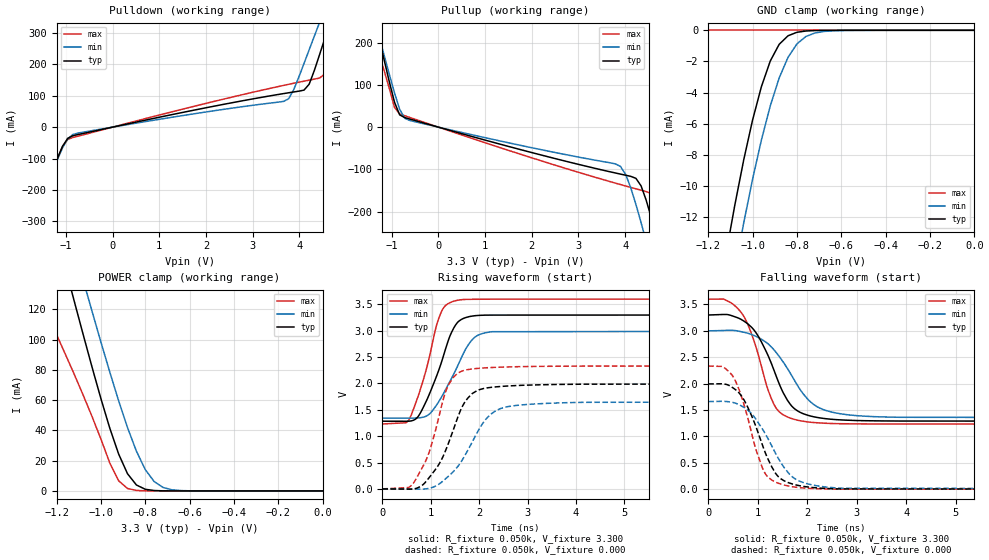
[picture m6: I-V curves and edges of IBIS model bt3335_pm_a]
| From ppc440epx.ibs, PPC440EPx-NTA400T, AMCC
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|   MODEL bt3335_pm_a
[Model]   bt3335_pm_a
Model_type   I/O
Vinl  = 0.8V
Vinh  = 2.0V
Vref  = 0.0V
Rref  = 1e20k
Cref  = 10pF
Vmeas = 1.65V
| Values for delay from A to PAD (Tdo) are determined using
| Vref, Cref, Rref, and Vmeas.
|   INPUT TRANSITION ON DRIVER INPUT = 0.1ns
|   typ   min   max
| Tdo (rise)   1.73n   1.33n   2.26n
| Tdo (fall)   1.61n   1.34n   1.97n
|   INPUT TRANSITION ON DRIVER INPUT = 1.0ns
|   typ   min   max
| Tdo (rise)   1.79n   1.37n   2.35n
| Tdo (fall)   1.71n   1.42n   2.08n
|   typ   min   max
C_comp   1.20pF   1.18pF  1.22pF
[Temperature Range]   50.00   125.00   0.00
[Voltage Range]   3.300   3.000   3.600
|   typ   min   max
|[Supply]   VDD   1.5   1.4   1.6
|[Supply]   VDD330   3.30   3.00   3.60
[Add Submodel]
| Submodel Name   Mode
Up.bt3335_pm_a   Non-Driving
Dn.bt3335_pm_a   Non-Driving
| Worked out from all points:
|   slope of the pulldown table from 0 to 0.495 V, typ, clamps not added: 31.4 ohm
|   slope of the pullup table from 0 to 0.495 V, typ, clamps not added: 32.3 ohm
|   GND clamp passes 1 mA (typ) near -0.88 V on its own axis
|   POWER clamp passes 1 mA (typ) near -0.80 V on its own axis
|   rising waveform, R_fixture 0.050k, V_fixture 3.300: 20-80 % time 477ps typ, 554ps min, 408ps max; typ from 1.28 V to 3.3 V
|   falling waveform, R_fixture 0.050k, V_fixture 3.300: 20-80 % time 588ps typ, 743ps min, 484ps max; typ from 3.3 V to 1.28 V
|   rising waveform, R_fixture 0.050k, V_fixture 0.000: 20-80 % time 552ps typ, 676ps min, 455ps max; typ from 0 V to 1.99 V
|   falling waveform, R_fixture 0.050k, V_fixture 0.000: 20-80 % time 522ps typ, 637ps min, 440ps max; typ from 1.99 V to 0 V
[Pullup]   | Note: Vtable = Vcc - Vout
| Voltage   I(typ)   I(min)   I(max)
-3.6V     1.264A     1.129A     1.093A
-1.49V    313mA      303.6mA    248.3mA
-1.38V    261.7mA    259.1mA    211.1mA
-830mV    29.07mA    42.36mA    31.36mA
-610mV    19.08mA    15.69mA    22.87mA
3.79V     -108.6mA   -87.03mA   -132.6mA
4.01V     -113.9mA   -112.1mA   -139.4mA
4.23V     -121.3mA   -183.2mA   -146.1mA
4.45V     -173.1mA   -271.2mA   -152.6mA
4.67V     -260.7mA   -365.3mA   -176.2mA
4.89V     -357.2mA   -462.2mA   -258mA
7.2V      -1.441A    -1.528A    -1.358A
[Pulldown]   | Note: Vtable = Vout
| Voltage   I(typ)   I(min)   I(max)
-3.6V     -1.257A    -1.221A    -1.289A
-1.73V    -342.5mA   -335.9mA   -351.7mA
-1.62V    -291.1mA   -286.7mA   -298.7mA
-1.07V    -60.81mA   -65.51mA   -60.73mA
-850mV    -27.42mA   -23.51mA   -33.05mA
3.77V     109.6mA    90.43mA    136.5mA
4.21V     137mA      246.6mA    150mA
4.43V     230mA      332.9mA    156.5mA
4.54V     280.4mA    375.5mA    168.7mA
4.65V     330.7mA    417.8mA    211.2mA
4.98V     478.9mA    543.1mA    327.6mA
7.2V      1.418A     1.363A     1.147A
[POWER_Clamp]   | Note: Vtable = Vcc - Vout
| Voltage   I(typ)   I(min)   I(max)
-3.6V     1.491A     1.456A     1.125A
-1.28V    214.6mA    244.6mA    128.5mA
-1.12V    125.3mA    160.2mA    76.98mA
-1.08V    103.4mA    139.4mA    63.34mA
-1.04V    81.84mA    118.7mA    49.19mA
-960mV    41.52mA    78.57mA    18.49mA
-920mV    24.37mA    59.55mA    6.672mA
-880mV    11.36mA    41.85mA    1.628mA
-800mV    1.083mA    14.1mA     60uA
-760mV    268uA      6.215mA    11uA
-640mV    4uA        241uA      0A
0V        0A         0A         0A
[GND_Clamp]   | Note: Vtable = Vout
| Voltage   I(typ)   I(min)   I(max)
-3.6V     -278.4mA   -280.5mA   0A
-1.12V    -14.38mA   -18.65mA   0A
-1.08V    -11.22mA   -15.42mA   0A
-1.04V    -8.327mA   -12.37mA   0A
-960mV    -3.61mA    -7.033mA   0A
-920mV    -1.965mA   -4.843mA   0A
-880mV    -898uA     -3.056mA   0A
-840mV    -350uA     -1.729mA   0A
-800mV    -125uA     -871uA     0A
-760mV    -44uA      -400uA     0A
-680mV    -6uA       -76uA      0A
0V        0A         0A         0A
[Ramp]
| variable   typ   min   max
  dV/dt_r   1.20/0.56n   1.00/0.68n   1.40/0.46n
  dV/dt_f   1.21/0.59n   0.99/0.74n   1.42/0.48n
R_load = 0.050k
[Rising Waveform]
R_fixture = 0.050k
V_fixture = 3.300
V_fixture_min = 3.000
V_fixture_max = 3.600
|   time   V(typ)   V(min)   V(max)
0s        1.284V     1.343V     1.232V
500ps     1.283V     1.343V     1.261V
740ps     1.374V     1.347V     1.761V
970ps     1.795V     1.419V     2.494V
1.21ns    2.37V      1.722V     3.338V
1.4ns     2.907V     2.046V     3.533V
1.59ns    3.187V     2.402V     3.583V
1.88ns    3.28V      2.851V     3.596V
2.27ns    3.296V     2.981V     3.598V
19.9ns    3.3V       3V         3.6V
[Falling Waveform]
R_fixture = 0.050k
V_fixture = 3.300
V_fixture_min = 3.000
V_fixture_max = 3.600
|   time   V(typ)   V(min)   V(max)
0s        3.3V       3V         3.6V
500ps     3.279V     3.009V     3.506V
870ps     3.073V     2.933V     2.957V
1.19ns    2.572V     2.769V     1.938V
1.37ns    2.153V     2.595V     1.541V
1.68ns    1.584V     2.165V     1.34V
2.03ns    1.396V     1.688V     1.272V
2.58ns    1.318V     1.444V     1.242V
3.69ns    1.292V     1.365V     1.234V
19.9ns    1.284V     1.343V     1.232V
[Rising Waveform]
R_fixture = 0.050k
V_fixture = 0.000
V_fixture_min = 0.000
V_fixture_max = 0.000
|   time   V(typ)   V(min)   V(max)
0s        0V         0V         0V
560ps     -5mV       -1mV       37mV
880ps     117mV      -1mV       501mV
1.36ns    853mV      236mV      1.96V
1.64ns    1.54V      533mV      2.232V
1.86ns    1.81V      896mV      2.276V
2.12ns    1.908V     1.3V       2.295V
2.36ns    1.936V     1.49V      2.306V
3.37ns    1.976V     1.621V     2.325V
19.9ns    1.994V     1.66V      2.332V
[Falling Waveform]
R_fixture = 0.050k
V_fixture = 0.000
V_fixture_min = 0.000
V_fixture_max = 0.000
|   time   V(typ)   V(min)   V(max)
0s        1.994V     1.66V      2.332V
300ps     1.995V     1.664V     2.318V
530ps     1.9V       1.635V     2.088V
780ps     1.591V     1.514V     1.419V
970ps     1.173V     1.319V     736mV
1.17ns    654mV      1.022V     271mV
1.42ns    235mV      579mV      112mV
1.77ns    81mV       188mV      37mV
2.72ns    4mV        17mV       1mV
19.9ns    0V         0V         0V
